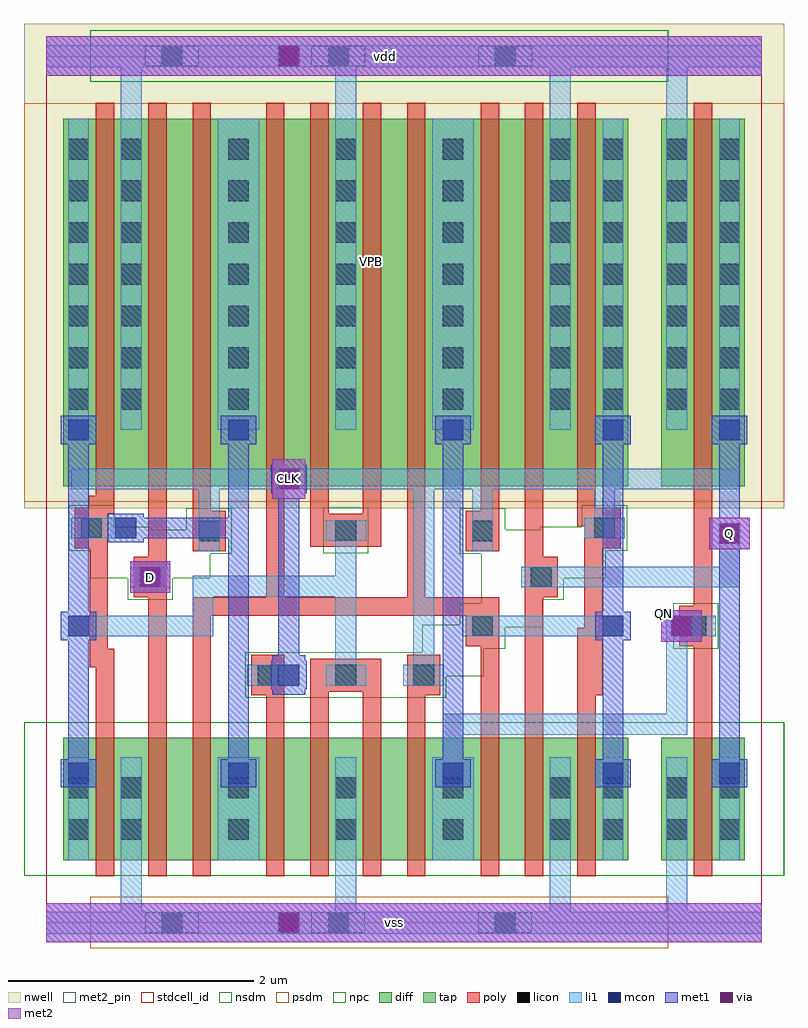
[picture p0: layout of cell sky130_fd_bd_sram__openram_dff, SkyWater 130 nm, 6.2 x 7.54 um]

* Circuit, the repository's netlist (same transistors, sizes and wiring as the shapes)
* Copyright 2020 The SkyWater PDK Authors
*
* Licensed under the Apache License, Version 2.0 (the "License");
* you may not use this file except in compliance with the License.
* You may obtain a copy of the License at
*
*     https://www.apache.org/licenses/LICENSE-2.0
*
* Unless required by applicable law or agreed to in writing, software
* distributed under the License is distributed on an "AS IS" BASIS,
* WITHOUT WARRANTIES OR CONDITIONS OF ANY KIND, either express or implied.
* See the License for the specific language governing permissions and
* limitations under the License.
*
* SPDX-License-Identifier: Apache-2.0


.subckt openram_dff VDD GND CLK D Q Q_N
X0 a_547_102# a_28_102# GND GND sky130_fd_pr__nfet_01v8 w=1 l=0.15
X1 a_239_76# CLK GND GND sky130_fd_pr__nfet_01v8 w=1 l=0.15
X2 VDD a_47_611# a_28_102# VDD sky130_fd_pr__pfet_01v8 w=3 l=0.15
X3 GND a_28_102# a_389_102# GND sky130_fd_pr__nfet_01v8 w=1 l=0.15
X4 GND Q a_739_102# GND sky130_fd_pr__nfet_01v8 w=1 l=0.15
X5 Q Q_N GND GND sky130_fd_pr__nfet_01v8 w=1 l=0.15
X6 a_389_712# a_239_76# a_47_611# VDD sky130_fd_pr__pfet_01v8 w=3 l=0.15
X7 a_47_611# a_239_76# a_197_102# GND sky130_fd_pr__nfet_01v8 w=1 l=0.15
X8 Q_N CLK a_547_102# GND sky130_fd_pr__nfet_01v8 w=1 l=0.15
X9 a_739_102# a_239_76# Q_N GND sky130_fd_pr__nfet_01v8 w=1 l=0.15
X10 a_547_712# a_28_102# VDD VDD sky130_fd_pr__pfet_01v8 w=3 l=0.15
X11 a_239_76# CLK VDD VDD sky130_fd_pr__pfet_01v8 w=3 l=0.15
X12 a_197_102# D GND GND sky130_fd_pr__nfet_01v8 w=1 l=0.15
X13 VDD a_28_102# a_389_712# VDD sky130_fd_pr__pfet_01v8 w=3 l=0.15
X14 VDD Q a_739_712# VDD sky130_fd_pr__pfet_01v8 w=3 l=0.15
X15 GND a_47_611# a_28_102# GND sky130_fd_pr__nfet_01v8 w=1 l=0.15
X16 Q Q_N VDD VDD sky130_fd_pr__pfet_01v8 w=3 l=0.15
X17 Q_N a_239_76# a_547_712# VDD sky130_fd_pr__pfet_01v8 w=3 l=0.15
X18 a_47_611# CLK a_197_712# VDD sky130_fd_pr__pfet_01v8 w=3 l=0.15
X19 a_739_712# CLK Q_N VDD sky130_fd_pr__pfet_01v8 w=3 l=0.15
X20 a_389_102# CLK a_47_611# GND sky130_fd_pr__nfet_01v8 w=1 l=0.15
X21 a_197_712# D VDD VDD sky130_fd_pr__pfet_01v8 w=3 l=0.15
.ends

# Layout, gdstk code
import gdstk
lib = gdstk.Library(unit=1e-6, precision=1e-09)
def R(c, l, rs):  # rectangles x0, y0, x1, y1
    for r in rs: c.add(gdstk.rectangle(r[:2], r[2:], *l))
def A(c, l, x, y, w, h, nx, ny, dx, dy):  # array of equal rectangles
    R(c, l, [(x+i*dx, y+j*dy, x+i*dx+w, y+j*dy+h) for i in range(nx) for j in range(ny)])
nwell = (64, 20)
diff = (65, 20)
tap = (65, 44)
poly = (66, 20)
licon = (66, 44)
li1 = (67, 20)
mcon = (67, 44)
met1 = (68, 20)
via = (68, 44)
met2_pin = (69, 16)
met2 = (69, 20)
stdcell_id = (81, 4)
nsdm = (93, 44)
psdm = (94, 20)
npc = (95, 20)

sky130_fd_bd_sram__openr = lib.new_cell('sky130_fd_bd_sram__openram_dff')
R(sky130_fd_bd_sram__openr, nwell, [(-0.18,3.38,6.02,7.335)])
R(sky130_fd_bd_sram__openr, diff, [(0.14,0.51,4.75,1.51), (5.02,0.51,5.7,1.51), (0.14,3.56,4.75,6.56), (5.02,3.56,5.7,6.56)])
A(sky130_fd_bd_sram__openr, tap, 0.805, -0.085, 0.44, 0.17, 3, 2, 1.36, 7.07)
R(sky130_fd_bd_sram__openr, poly, [(0.405,0.38,0.555,2.085), (0.835,0.38,0.985,2.655), (1.195,0.38,1.345,2.505), (1.795,0.38,1.945,1.855), (2.155,0.38,2.305,1.885), (2.585,0.38,2.735,1.885), (2.945,0.38,3.095,1.855), (3.545,0.38,3.695,2.255), (3.905,0.38,4.055,2.655), (4.335,0.38,4.485,1.855), (5.285,0.38,5.435,2.255), (1.675,1.855,1.945,2.185), (2.945,1.855,3.215,2.185), (4.335,1.855,4.54,2.405), (2.155,1.885,2.735,2.155), (0.355,2.085,0.555,2.235), (0.355,2.235,0.505,3.055), (3.425,2.255,3.695,2.505), (5.165,2.255,5.435,2.585), (4.39,2.405,4.54,3.055), (1.195,2.505,3.695,2.655), (5.285,2.585,5.435,6.69), (0.715,2.655,0.985,2.985), (1.795,2.655,1.945,6.69), (2.945,2.655,3.095,6.69), (3.905,2.655,4.175,2.985), (0.835,2.985,0.985,6.69), (3.905,2.985,4.055,6.69), (1.195,3.03,1.465,3.36), (3.425,3.03,3.695,3.36), (0.235,3.055,0.505,3.335), (4.39,3.055,4.69,3.235), (2.155,3.065,2.735,3.335), (4.335,3.235,4.69,3.385), (0.235,3.335,0.555,3.385), (2.155,3.335,2.305,6.69), (2.585,3.335,2.735,6.69), (1.195,3.36,1.345,6.69), (3.545,3.36,3.695,6.69), (0.35,3.385,0.555,3.485), (4.335,3.385,4.485,6.69), (0.405,3.485,0.555,6.69)])
A(sky130_fd_bd_sram__openr, licon, 0.94, -0.085, 0.17, 0.17, 3, 2, 1.36, 7.07)
A(sky130_fd_bd_sram__openr, licon, 0.61, 0.675, 0.17, 0.17, 5, 2, 0.875, 0.34)
A(sky130_fd_bd_sram__openr, licon, 1.725, 1.935, 0.17, 0.17, 3, 1, 0.635, 0)
A(sky130_fd_bd_sram__openr, licon, 0.18, 4.185, 0.17, 0.17, 1, 7, 0, 0.34)
A(sky130_fd_bd_sram__openr, licon, 0.61, 4.185, 0.17, 0.17, 5, 7, 0.875, 0.34)
A(sky130_fd_bd_sram__openr, licon, 4.54, 4.185, 0.17, 0.17, 1, 7, 0, 0.34)
A(sky130_fd_bd_sram__openr, licon, 5.06, 4.185, 0.17, 0.17, 1, 7, 0, 0.34)
A(sky130_fd_bd_sram__openr, licon, 5.49, 4.185, 0.17, 0.17, 1, 7, 0, 0.34)
R(sky130_fd_bd_sram__openr, licon, [(0.18,0.675,0.35,0.845), (4.54,0.675,4.71,0.845), (5.06,0.675,5.23,0.845), (5.49,0.675,5.66,0.845), (0.18,1.015,0.35,1.185), (4.54,1.015,4.71,1.185), (5.06,1.015,5.23,1.185), (5.49,1.015,5.66,1.185), (3.475,2.335,3.645,2.505), (5.215,2.335,5.385,2.505), (0.765,2.735,0.935,2.905), (3.955,2.735,4.125,2.905), (1.245,3.11,1.415,3.28), (3.475,3.11,3.645,3.28), (2.36,3.115,2.53,3.285), (0.285,3.135,0.455,3.305), (4.47,3.135,4.64,3.305)])
A(sky130_fd_bd_sram__openr, li1, 0.61, 0.09, 0.17, 1.26, 3, 1, 1.75, 0)
A(sky130_fd_bd_sram__openr, li1, 0.61, 4.02, 0.17, 2.96, 3, 1, 1.75, 0)
R(sky130_fd_bd_sram__openr, li1, [(0,-0.09,5.84,0.09), (5.06,0.09,5.23,1.35), (0.18,0.51,0.35,1.35), (1.4,0.51,1.74,1.35), (3.15,0.51,3.49,1.35), (4.54,0.51,4.71,1.355), (5.49,0.51,5.66,1.355), (3.235,1.35,3.405,1.535), (3.235,1.535,5.23,1.705), (5.06,1.705,5.23,2.335), (1.64,1.935,2.065,2.105), (2.28,1.935,2.61,2.105), (2.915,1.935,3.245,2.105), (2.36,2.105,2.53,2.66), (2.995,2.105,3.165,3.535), (0.18,2.335,1.365,2.505), (3.395,2.335,4.71,2.505), (5.06,2.335,5.465,2.505), (1.195,2.505,1.365,2.66), (1.195,2.66,2.53,2.83), (0.685,2.735,1.015,2.905), (3.875,2.735,5.66,2.905), (2.36,2.83,2.53,3.115), (5.49,2.905,5.66,3.26), (1.245,3.03,1.415,3.535), (3.475,3.03,3.645,3.535), (2.28,3.115,2.61,3.285), (0.205,3.135,0.735,3.305), (4.39,3.135,4.72,3.305), (4.47,3.305,4.64,3.535), (0.205,3.535,5.66,3.705), (0.18,3.935,0.35,6.56), (1.485,3.935,1.655,4.02), (3.235,3.935,3.405,4.02), (4.54,3.935,4.71,6.56), (5.49,3.935,5.66,6.56), (1.4,4.02,1.74,6.56), (3.15,4.02,3.49,6.56), (5.06,4.02,5.23,6.98), (0,6.98,5.84,7.16), (0,6.98,5.84,7.16)])
R(sky130_fd_bd_sram__openr, mcon, [(1.895,-0.085,2.065,0.085), (0.18,1.135,0.35,1.305), (1.485,1.135,1.655,1.305), (3.235,1.135,3.405,1.305), (4.54,1.135,4.71,1.305), (5.49,1.135,5.66,1.305), (1.895,1.935,2.065,2.105), (0.18,2.335,0.35,2.505), (4.54,2.335,4.71,2.505), (5.1,2.335,5.27,2.505), (0.765,2.735,0.935,2.905), (5.49,3.09,5.66,3.26), (0.565,3.135,0.735,3.305), (1.895,3.535,2.065,3.705), (0.18,3.935,0.35,4.105), (1.485,3.935,1.655,4.105), (3.235,3.935,3.405,4.105), (4.54,3.935,4.71,4.105), (5.49,3.935,5.66,4.105), (1.895,6.985,2.065,7.155)])
R(sky130_fd_bd_sram__openr, met1, [(0,-0.16,5.84,0.16), (0.12,1.105,0.41,1.335), (1.425,1.105,1.715,1.335), (3.175,1.105,3.465,1.335), (4.48,1.105,4.77,1.335), (5.43,1.105,5.72,1.335), (0.18,1.335,0.35,2.305), (1.485,1.335,1.655,3.135), (3.235,1.335,3.405,3.905), (4.54,1.335,4.71,2.305), (5.49,1.335,5.66,3.045), (1.845,1.86,2.115,1.905), (1.835,1.905,2.125,2.135), (1.845,2.135,2.115,2.18), (1.895,2.18,2.065,3.46), (5.02,2.29,5.35,2.55), (0.12,2.305,0.41,2.535), (4.48,2.305,4.77,2.535), (0.18,2.535,0.35,3.905), (4.54,2.535,4.71,3.905), (0.685,2.69,1.015,2.95), (5.41,3.045,5.74,3.305), (0.505,3.105,0.795,3.135), (0.505,3.135,1.655,3.305), (0.505,3.305,0.795,3.335), (1.485,3.305,1.655,3.905), (5.49,3.305,5.66,3.905), (1.845,3.46,2.115,3.505), (1.835,3.505,2.125,3.735), (1.845,3.735,2.115,3.78), (0.12,3.905,0.41,4.135), (1.425,3.905,1.715,4.135), (3.175,3.905,3.465,4.135), (4.48,3.905,4.77,4.135), (5.43,3.905,5.72,4.135), (0,6.91,5.84,7.23)])
R(sky130_fd_bd_sram__openr, via, [(1.905,-0.075,2.055,0.075), (5.11,2.345,5.26,2.495), (0.775,2.745,0.925,2.895), (5.5,3.1,5.65,3.25), (1.905,3.545,2.055,3.695), (1.905,6.995,2.055,7.145)])
R(sky130_fd_bd_sram__openr, met2_pin, [(0,-0.16,5.84,0.16), (5.02,2.29,5.35,2.55), (0.685,2.69,1.015,2.95), (5.41,3.045,5.74,3.305), (1.845,3.46,2.115,3.78), (0,6.91,5.84,7.23)])
R(sky130_fd_bd_sram__openr, met2, [(0,-0.16,5.84,0.16), (5.02,2.29,5.35,2.55), (0.685,2.69,1.015,2.95), (0.685,2.69,1.015,2.95), (5.41,3.045,5.74,3.305), (5.41,3.045,5.74,3.305), (1.845,3.46,2.115,3.78), (1.845,3.46,2.115,3.78), (0,6.91,5.84,7.23)])
R(sky130_fd_bd_sram__openr, stdcell_id, [(0,0,5.84,7.07)])
R(sky130_fd_bd_sram__openr, nsdm, [(-0.18,0.385,6.02,1.635), (0.36,6.86,5.075,7.07), (0.36,7.07,5.075,7.28)])
R(sky130_fd_bd_sram__openr, psdm, [(0.36,-0.21,5.075,0), (0.36,0,5.075,0.21), (-0.18,3.435,6.02,6.685)])
R(sky130_fd_bd_sram__openr, npc, [(1.625,1.835,3.265,2.01), (1.625,2.01,3.57,2.205), (3.07,2.205,3.57,2.235), (3.07,2.235,3.745,2.41), (5.115,2.235,5.485,2.605), (3.07,2.41,4.05,2.43), (3.375,2.43,4.05,2.605), (3.55,2.605,4.05,2.635), (0.665,2.635,1.035,2.81), (3.55,2.635,4.225,2.81), (0.36,2.81,1.34,3.01), (3.55,2.81,4.565,3.01), (0.36,3.01,1.515,3.035), (3.375,3.01,4.565,3.035), (2.26,3.015,2.63,3.385), (0.185,3.035,1.515,3.205), (3.375,3.035,4.74,3.205), (0.185,3.205,0.86,3.23), (1.145,3.205,1.515,3.38), (3.375,3.205,3.745,3.38), (4.03,3.205,4.74,3.23), (0.185,3.23,0.555,3.405), (4.37,3.23,4.74,3.405)])
sky130_fd_bd_sram__openr.add(gdstk.Label('vss', (2.845,0), layer=69, texttype=5))
sky130_fd_bd_sram__openr.add(gdstk.Label('vdd', (2.765,7.07), layer=69, texttype=5))
sky130_fd_bd_sram__openr.add(gdstk.Label('QN', (5.035,2.52), layer=69, texttype=5))
sky130_fd_bd_sram__openr.add(gdstk.Label('CLK', (1.98,3.62), layer=69, texttype=5))
sky130_fd_bd_sram__openr.add(gdstk.Label('D', (0.85,2.82), layer=69, texttype=5))
sky130_fd_bd_sram__openr.add(gdstk.Label('Q', (5.575,3.175), layer=69, texttype=5))
sky130_fd_bd_sram__openr.add(gdstk.Label('VDD', (2.74,7.08), layer=67, texttype=5))
sky130_fd_bd_sram__openr.add(gdstk.Label('GND', (2.72,0), layer=67, texttype=5))
sky130_fd_bd_sram__openr.add(gdstk.Label('VPB', (2.655,5.393), layer=64, texttype=5))

lib.write_gds('sky130_fd_bd_sram__openram_dff.gds')
